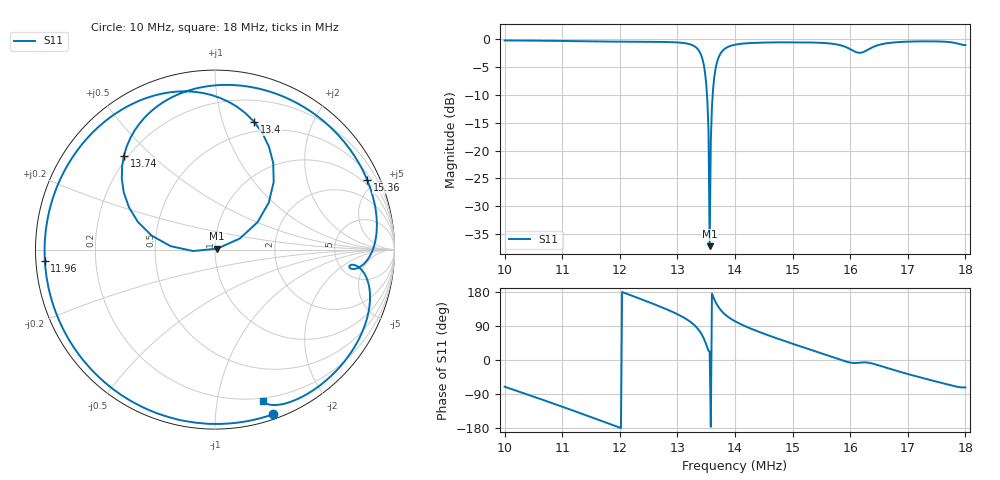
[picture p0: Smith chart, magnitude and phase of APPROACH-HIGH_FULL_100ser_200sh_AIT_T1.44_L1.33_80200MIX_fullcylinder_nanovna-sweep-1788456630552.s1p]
! NanoVNA Web complex sweep
! Processing: original sample grid, no browser smoothing
# Hz S RI R 50
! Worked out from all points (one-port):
!   401 points, 10 MHz to 18 MHz, reference 50 ohm
!   lowest |S11| = -37.2 dB at 13.56 MHz (marker M1), VSWR 1.03, Z = 51.3 + j0.556 ohm
!   |S11| at or under -10 dB: 13.51 MHz to 13.61 MHz (99.68 kHz wide, 0.735 % of centre)
!   S11 on the Smith chart (normalised r, x): 10 MHz: 0.04, -1.41; 11.96 MHz: 0.03, -0.03; 13.4 MHz: 0.40, +1.27; 13.74 MHz: 0.18, +0.41; 15.36 MHz: 0.75, +4.47; 18 MHz: 0.17, -1.35
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1e7  0.3237 -0.918
1.05e7  -0.11 -0.964
1.1e7  -0.5275 -0.8064
1.15e7  -0.8317 -0.4702
1.196e7  -0.9479 -0.0636
1.2e7  -0.9492 -0.0263
1.252e7  -0.8338 0.4485
1.3e7  -0.4786 0.8026
1.326e7  -0.1027 0.8776
1.34e7  0.2177 0.7125
1.348e7  0.327 0.3761
1.35e7  0.2997 0.2622
1.352e7  0.2368 0.1523
1.356e7  0.0128 0.00542
1.36e7  -0.2477 0.0193
1.362e7  -0.3519 0.0774
1.364e7  -0.429 0.1534
1.374e7  -0.5074 0.5242
1.386e7  -0.3701 0.7577
1.4e7  -0.1892 0.8714
1.442e7  0.2558 0.894
1.5e7  0.687 0.6376
1.536e7  0.8478 0.3881
1.6e7  0.8069 -0.0972
1.634e7  0.815 -0.111
1.7e7  0.7585 -0.5722
1.76e7  0.4603 -0.8324
1.8e7  0.268 -0.8446
